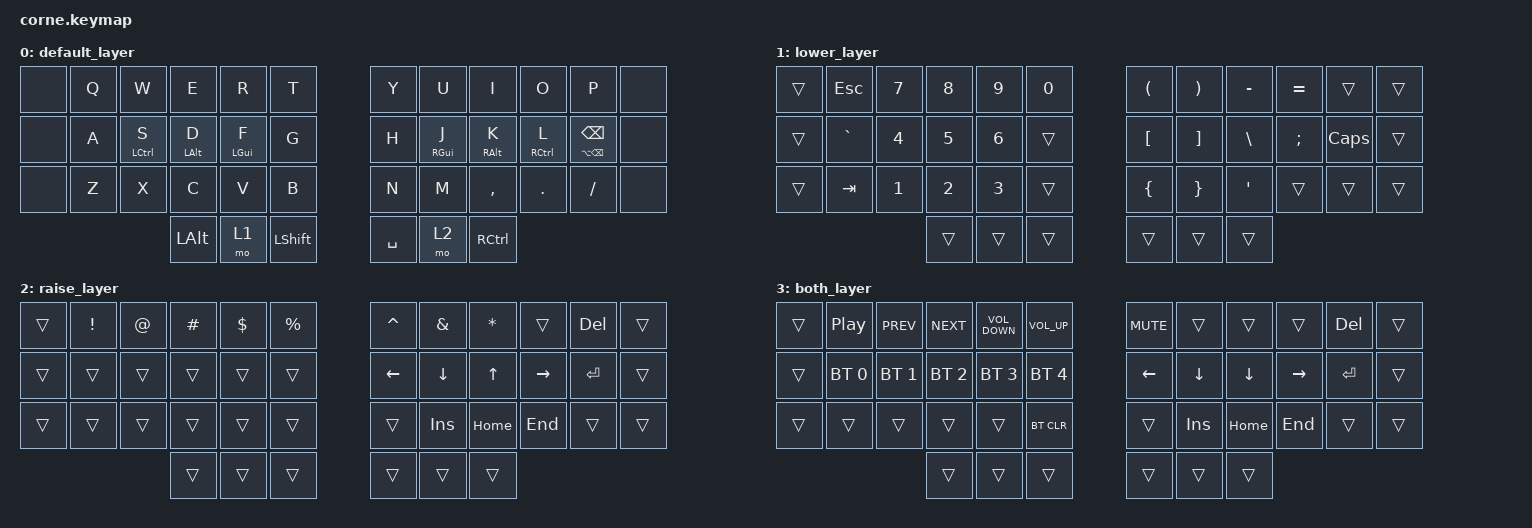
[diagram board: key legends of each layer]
/*
 * Copyright (c) 2020 The ZMK Contributors
 *
 * SPDX-License-Identifier: MIT
 */

#include <behaviors.dtsi>
#include <dt-bindings/zmk/bt.h>
#include <dt-bindings/zmk/keys.h>

/ {
    keymap {
        compatible = "zmk,keymap";

        default_layer {
            // -----------------------------------------------------------------------------------------
            // |  TAB |  Q  |  W  |  E  |  R  |  T  |   |  Y  |  U   |  I  |  O  |  P  | BKSP |
            // | CTRL |  A  |  S  |  D  |  F  |  G  |   |  H  |  J   |  K  |  L  |  ;  |  '   |
            // | SHFT |  Z  |  X  |  C  |  V  |  B  |   |  N  |  M   |  ,  |  .  |  /  | ESC  |
            //                    | GUI | LWR | SPC |   | ENT | RSE  | ALT |

            bindings = <
&none  &kp Q  &kp W               &kp E           &kp R           &kp T             &kp Y      &kp U            &kp I              &kp O                &kp P                        &none
&none  &kp A  &mt LEFT_CONTROL S  &mt LEFT_ALT D  &mt LEFT_GUI F  &kp G             &kp H      &mt RIGHT_GUI J  &mt RIGHT_ALT K    &mt RIGHT_CONTROL L  &mt LA(BACKSPACE) BACKSPACE  &none
&none  &kp Z  &kp X               &kp C           &kp V           &kp B             &kp N      &kp M            &kp COMMA          &kp DOT              &kp FSLH                     &none
                                  &kp LEFT_ALT    &mo 1           &kp LEFT_SHIFT    &kp SPACE  &mo 2            &kp RIGHT_CONTROL
            >;
        };

        lower_layer {
            // -----------------------------------------------------------------------------------------
            // |  TAB |  1  |  2  |  3  |  4  |  5  |   |  6  |  7  |  8  |  9  |  0  | BKSP |
            // | BTCLR| BT1 | BT2 | BT3 | BT4 | BT5 |   | LFT | DWN |  UP | RGT |     |      |
            // | SHFT |     |     |     |     |     |   |     |     |     |     |     |      |
            //                    | GUI |     | SPC |   | ENT |     | ALT |

            bindings = <
&trans  &kp ESCAPE  &kp N7  &kp N8  &kp N9        &kp N0    &kp LEFT_PARENTHESIS  &kp RIGHT_PARENTHESIS  &kp MINUS      &kp EQUAL      &trans        &trans
&trans  &kp GRAVE   &kp N4  &kp N5  &kp N6        &trans    &kp LEFT_BRACKET      &kp RIGHT_BRACKET      &kp BACKSLASH  &kp SEMICOLON  &kp CAPSLOCK  &trans
&trans  &kp TAB     &kp N1  &kp N2  &kp NUMBER_3  &trans    &kp LEFT_BRACE        &kp RIGHT_BRACE        &kp SQT        &trans         &trans        &trans
                            &trans  &trans        &trans    &trans                &trans                 &trans
            >;
        };

        raise_layer {
            bindings = <
&trans  &kp EXCLAMATION  &kp AT_SIGN  &kp HASH  &kp DOLLAR  &kp PERCENT    &kp CARET  &kp AMPERSAND  &kp ASTERISK  &trans     &kp DELETE  &trans
&trans  &trans           &trans       &trans    &trans      &trans         &kp LEFT   &kp DOWN       &kp UP_ARROW  &kp RIGHT  &kp ENTER   &trans
&trans  &trans           &trans       &trans    &trans      &trans         &trans     &kp INS        &kp HOME      &kp END    &trans      &trans
                                      &trans    &trans      &trans         &trans     &trans         &trans
            >;
        };

        both_layer {
            // -----------------------------------------------------------------------------------------
            // |  TAB |  !  |  @  |  #  |  $  |  %  |   |  ^  |  &  |  *  |  (  |  )  | BKSP |
            // | CTRL |     |     |     |     |     |   |  -  |  =  |  [  |  ]  |  \  |  `   |
            // | SHFT |     |     |     |     |     |   |  _  |  +  |  {  |  }  | "|" |  ~   |
            //                    | GUI |     | SPC |   | ENT |     | ALT |

            bindings = <
&trans  &kp C_PLAY_PAUSE  &kp C_PREV    &kp C_NEXT    &kp C_VOLUME_DOWN  &kp C_VOLUME_UP    &kp C_MUTE  &trans    &trans          &trans     &kp DELETE  &trans
&trans  &bt BT_SEL 0      &bt BT_SEL 1  &bt BT_SEL 2  &bt BT_SEL 3       &bt BT_SEL 4       &kp LEFT    &kp DOWN  &kp DOWN_ARROW  &kp RIGHT  &kp RET     &trans
&trans  &trans            &trans        &trans        &trans             &bt BT_CLR         &trans      &kp INS   &kp HOME        &kp END    &trans      &trans
                                        &trans        &trans             &trans             &trans      &trans    &trans
            >;
        };
    };

    conditional_layers {
        compatible = "zmk,conditional-layers";

        Both {
            if-layers = <1 2>;
            then-layer = <3>;
        };
    };
};
